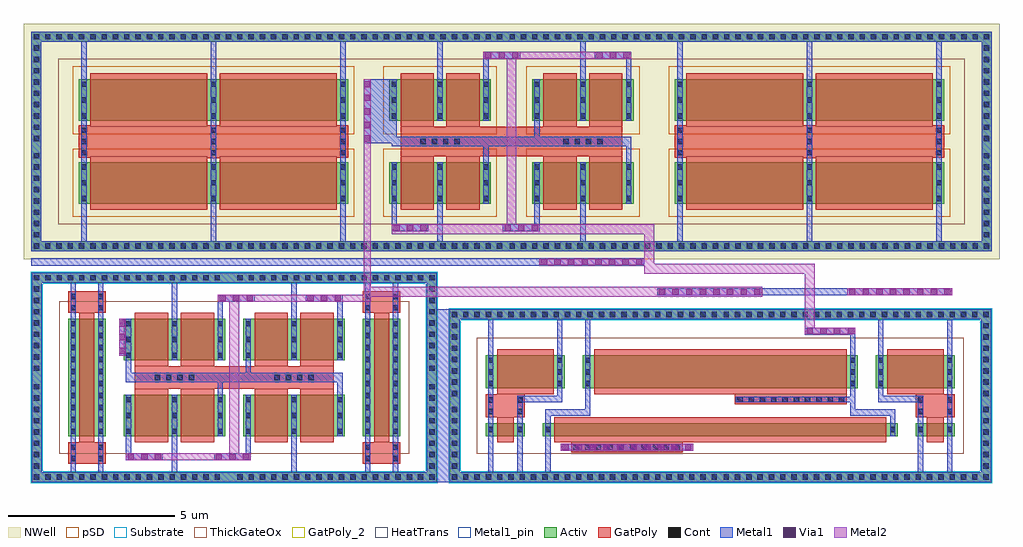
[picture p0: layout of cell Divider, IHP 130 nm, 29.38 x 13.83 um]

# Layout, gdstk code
import gdstk
lib = gdstk.Library(unit=1e-6, precision=1e-09)
def R(c, l, rs):  # rectangles x0, y0, x1, y1
    for r in rs: c.add(gdstk.rectangle(r[:2], r[2:], *l))
def A(c, l, x, y, w, h, nx, ny, dx, dy):  # array of equal rectangles
    R(c, l, [(x+i*dx, y+j*dy, x+i*dx+w, y+j*dy+h) for i in range(nx) for j in range(ny)])
def P(c, l, *ps):  # polygons
    for p in ps: c.add(gdstk.Polygon(p, *l))
Activ = (1, 0)
GatPoly = (5, 0)
GatPoly_2 = (5, 2)
Cont = (6, 0)
Metal1 = (8, 0)
Metal1_pin = (8, 2)
Metal2 = (10, 0)
pSD = (14, 0)
Via1 = (19, 0)
NWell = (31, 0)
Substrate = (40, 0)
ThickGateOx = (44, 0)
HeatTrans = (51, 0)

pmoshv_11 = lib.new_cell('pmosHV$11')
A(pmoshv_11, Activ, 0, 0, 0.3, 0.3, 3, 1, 3.9, 0)
R(pmoshv_11, Activ, [(0,0,8.1,1.25)])
R(pmoshv_11, GatPoly, [(0.34,-0.18,3.86,1.43), (4.24,-0.18,7.76,1.43)])
R(pmoshv_11, GatPoly_2, [(0.34,-0.18,3.86,1.43)])
A(pmoshv_11, Cont, 0.07, 0.07, 0.16, 0.16, 3, 3, 3.9, 0.475)
A(pmoshv_11, Metal1, 0.07, 0, 0.16, 1.25, 3, 1, 3.9, 0)
R(pmoshv_11, Metal1_pin, [(0.07,0,0.23,1.25), (3.97,0,4.13,1.25)])
R(pmoshv_11, pSD, [(-0.18,-0.4,8.28,1.65)])
R(pmoshv_11, NWell, [(-0.62,-0.62,8.72,1.87)])
R(pmoshv_11, ThickGateOx, [(-0.62,-0.62,8.72,1.87)])
R(pmoshv_11, HeatTrans, [(0.34,-0.18,3.86,1.43), (4.24,-0.18,7.76,1.43)])
pmoshv_11.add(gdstk.Label('pmosHV', (2.1,0.625), layer=63, texttype=0))
pmoshv_11.add(gdstk.Label('pmos', (2.1,0.625), layer=51, texttype=0))
pmoshv_11.add(gdstk.Label('pmos', (6,0.625), layer=51, texttype=0))

guard_ring_15 = lib.new_cell('guard_ring$15')
R(guard_ring_15, Activ, [(-8.15,-2.3,-7.85,2.3), (7.85,-2.3,8.15,2.3), (-8.15,2.3,8.15,2.6)])
P(guard_ring_15, Activ, [(-8.15,-2.6),(-8.15,2.3),(-7.85,2.3),(-7.85,-2.3),(7.85,-2.3),(7.85,2.3),(-8.15,2.3),(-8.15,2.6),(8.15,2.6),(8.15,-2.6)])
A(guard_ring_15, Cont, -8.08, -2.53, 0.16, 0.16, 24, 2, 0.34, 4.9)
A(guard_ring_15, Cont, 0.1, -2.53, 0.16, 0.16, 24, 2, 0.34, 4.9)
A(guard_ring_15, Cont, -8.08, -2.19, 0.16, 0.16, 1, 6, 0, 0.34)
A(guard_ring_15, Cont, 7.92, -2.19, 0.16, 0.16, 1, 6, 0, 0.34)
A(guard_ring_15, Cont, -8.08, -0.01, 0.16, 0.16, 1, 7, 0, 0.34)
A(guard_ring_15, Cont, 7.92, -0.01, 0.16, 0.16, 1, 7, 0, 0.34)
R(guard_ring_15, Metal1, [(-8.15,-2.6,8.15,-2.3), (-8.15,-2.3,-7.85,2.3), (7.85,-2.3,8.15,2.3), (-8.15,2.3,8.15,2.6)])
R(guard_ring_15, pSD, [(-8.18,-2.27,-7.82,2.27), (7.82,-2.27,8.18,2.27), (-8.18,2.27,8.18,2.63)])
P(guard_ring_15, pSD, [(-8.18,-2.63),(-8.18,2.27),(-7.82,2.27),(-7.82,-2.27),(7.82,-2.27),(7.82,2.27),(-8.18,2.27),(-8.18,2.63),(8.18,2.63),(8.18,-2.63)])
R(guard_ring_15, Substrate, [(-8.18,-2.27,-7.82,2.27), (7.82,-2.27,8.18,2.27), (-8.18,2.27,8.18,2.63)])
P(guard_ring_15, Substrate, [(-8.18,-2.63),(-8.18,2.27),(-7.82,2.27),(-7.82,-2.27),(7.82,-2.27),(7.82,2.27),(-8.18,2.27),(-8.18,2.63),(8.18,2.63),(8.18,-2.63)])
guard_ring_15.add(gdstk.Label('sub!', (0,-2.45), layer=63, texttype=0))

nmoshv_12 = lib.new_cell('nmosHV$12')
R(nmoshv_12, Activ, [(0,0,0.3,0.3), (0,0,2.38,1), (2.08,0,2.38,0.3)])
R(nmoshv_12, GatPoly, [(0.34,-0.18,2.04,1.18)])
R(nmoshv_12, GatPoly_2, [(0.34,-0.18,2.04,1.18)])
A(nmoshv_12, Cont, 0.07, 0.07, 0.16, 0.16, 1, 3, 0, 0.35)
A(nmoshv_12, Cont, 2.15, 0.07, 0.16, 0.16, 1, 3, 0, 0.35)
R(nmoshv_12, Metal1, [(0.07,0,0.23,1), (2.15,0,2.31,1)])
R(nmoshv_12, Metal1_pin, [(0.07,0,0.23,1), (2.15,0,2.31,1)])
R(nmoshv_12, ThickGateOx, [(-0.27,-0.52,2.65,1.52)])
R(nmoshv_12, HeatTrans, [(0.34,-0.18,2.04,1.18)])
nmoshv_12.add(gdstk.Label('nmosHV', (1.19,0.5), layer=63, texttype=0))
nmoshv_12.add(gdstk.Label('nmosHV', (1.19,0.5), layer=51, texttype=0))

nmoshv_11 = lib.new_cell('nmosHV$11')
R(nmoshv_11, Activ, [(0,0,0.3,0.3), (0,0,1.18,0.4), (0.88,0,1.18,0.3)])
R(nmoshv_11, GatPoly, [(0.34,-0.18,0.84,0.58)])
R(nmoshv_11, GatPoly_2, [(0.34,-0.18,0.84,0.58)])
R(nmoshv_11, Cont, [(0.07,0.12,0.23,0.28), (0.95,0.12,1.11,0.28)])
R(nmoshv_11, Metal1, [(0.07,0,0.23,0.4), (0.95,0,1.11,0.4)])
R(nmoshv_11, Metal1_pin, [(0.07,0,0.23,0.4), (0.95,0,1.11,0.4)])
R(nmoshv_11, ThickGateOx, [(-0.27,-0.52,1.45,0.92)])
R(nmoshv_11, HeatTrans, [(0.34,-0.18,0.84,0.58)])
nmoshv_11.add(gdstk.Label('nmosHV', (0.59,0.2), layer=63, texttype=0))
nmoshv_11.add(gdstk.Label('nmosHV', (0.59,0.2), layer=51, texttype=0))

nmoshv_10 = lib.new_cell('nmosHV$10')
R(nmoshv_10, Activ, [(0,0,0.3,0.3), (0,0,1.13,3.54), (0.83,0,1.13,0.3)])
R(nmoshv_10, GatPoly, [(0.34,-0.18,0.79,3.72)])
R(nmoshv_10, GatPoly_2, [(0.34,-0.18,0.79,3.72)])
A(nmoshv_10, Cont, 0.07, 0.07, 0.16, 0.16, 1, 10, 0, 0.36)
A(nmoshv_10, Cont, 0.9, 0.07, 0.16, 0.16, 1, 10, 0, 0.36)
R(nmoshv_10, Metal1, [(0.07,0,0.23,3.54), (0.9,0,1.06,3.54)])
R(nmoshv_10, Metal1_pin, [(0.07,0,0.23,3.54), (0.9,0,1.06,3.54)])
R(nmoshv_10, ThickGateOx, [(-0.27,-0.52,1.4,4.06)])
R(nmoshv_10, HeatTrans, [(0.34,-0.18,0.79,3.72)])
nmoshv_10.add(gdstk.Label('nmosHV', (0.565,1.77), layer=63, texttype=0))
nmoshv_10.add(gdstk.Label('nmosHV', (0.565,1.77), layer=51, texttype=0))

nmoshv_9 = lib.new_cell('nmosHV$9')
A(nmoshv_9, Activ, 0, 0, 0.3, 0.3, 3, 1, 1.38, 0)
R(nmoshv_9, Activ, [(0,0,3.06,1.25)])
R(nmoshv_9, GatPoly, [(0.34,-0.18,1.34,1.43), (1.72,-0.18,2.72,1.43)])
R(nmoshv_9, GatPoly_2, [(0.34,-0.18,1.34,1.43)])
A(nmoshv_9, Cont, 0.07, 0.07, 0.16, 0.16, 3, 3, 1.38, 0.475)
A(nmoshv_9, Metal1, 0.07, 0, 0.16, 1.25, 3, 1, 1.38, 0)
R(nmoshv_9, Metal1_pin, [(0.07,0,0.23,1.25), (1.45,0,1.61,1.25)])
R(nmoshv_9, ThickGateOx, [(-0.27,-0.52,3.33,1.77)])
R(nmoshv_9, HeatTrans, [(0.34,-0.18,1.34,1.43), (1.72,-0.18,2.72,1.43)])
nmoshv_9.add(gdstk.Label('nmosHV', (0.84,0.625), layer=63, texttype=0))
nmoshv_9.add(gdstk.Label('nmosHV', (0.84,0.625), layer=51, texttype=0))
nmoshv_9.add(gdstk.Label('nmosHV', (2.22,0.625), layer=51, texttype=0))

guard_ring_14 = lib.new_cell('guard_ring$14')
R(guard_ring_14, Activ, [(-14.45,-3,-14.15,3), (14.15,-3,14.45,3), (-14.45,3,14.45,3.3)])
P(guard_ring_14, Activ, [(-14.45,-3.3),(-14.45,3),(-14.15,3),(-14.15,-3),(14.15,-3),(14.15,3),(-14.45,3),(-14.45,3.3),(14.45,3.3),(14.45,-3.3)])
A(guard_ring_14, Cont, -14.38, -3.23, 0.16, 0.16, 42, 2, 0.34, 6.3)
A(guard_ring_14, Cont, -0.06, -3.23, 0.16, 0.16, 43, 2, 0.34, 6.3)
A(guard_ring_14, Cont, -14.38, -2.89, 0.16, 0.16, 1, 8, 0, 0.34)
A(guard_ring_14, Cont, 14.22, -2.89, 0.16, 0.16, 1, 8, 0, 0.34)
A(guard_ring_14, Cont, -14.38, 0.01, 0.16, 0.16, 1, 9, 0, 0.34)
A(guard_ring_14, Cont, 14.22, 0.01, 0.16, 0.16, 1, 9, 0, 0.34)
R(guard_ring_14, Metal1, [(-14.45,-3.3,14.45,-3), (-14.45,-3,-14.15,3), (14.15,-3,14.45,3), (-14.45,3,14.45,3.3)])
R(guard_ring_14, NWell, [(-14.69,-3.54,14.69,3.54)])
guard_ring_14.add(gdstk.Label('well', (0,-3.15), layer=63, texttype=0))

guard_ring_9 = lib.new_cell('guard_ring$9')
R(guard_ring_9, Activ, [(-6.1,-2.85,-5.8,2.85), (5.8,-2.85,6.1,2.85), (-6.1,2.85,6.1,3.15)])
P(guard_ring_9, Activ, [(-6.1,-3.15),(-6.1,2.85),(-5.8,2.85),(-5.8,-2.85),(5.8,-2.85),(5.8,2.85),(-6.1,2.85),(-6.1,3.15),(6.1,3.15),(6.1,-3.15)])
A(guard_ring_9, Cont, -6.03, -3.08, 0.16, 0.16, 17, 2, 0.34, 6)
A(guard_ring_9, Cont, 0.09, -3.08, 0.16, 0.16, 18, 2, 0.34, 6)
A(guard_ring_9, Cont, -6.03, -2.74, 0.16, 0.16, 1, 8, 0, 0.34)
A(guard_ring_9, Cont, 5.87, -2.74, 0.16, 0.16, 1, 8, 0, 0.34)
A(guard_ring_9, Cont, -6.03, 0.2, 0.16, 0.16, 1, 8, 0, 0.34)
A(guard_ring_9, Cont, 5.87, 0.2, 0.16, 0.16, 1, 8, 0, 0.34)
R(guard_ring_9, Metal1, [(-6.1,-3.15,6.1,-2.85), (-6.1,-2.85,-5.8,2.85), (5.8,-2.85,6.1,2.85), (-6.1,2.85,6.1,3.15)])
R(guard_ring_9, pSD, [(-6.13,-2.82,-5.77,2.82), (5.77,-2.82,6.13,2.82), (-6.13,2.82,6.13,3.18)])
P(guard_ring_9, pSD, [(-6.13,-3.18),(-6.13,2.82),(-5.77,2.82),(-5.77,-2.82),(5.77,-2.82),(5.77,2.82),(-6.13,2.82),(-6.13,3.18),(6.13,3.18),(6.13,-3.18)])
R(guard_ring_9, Substrate, [(-6.13,-2.82,-5.77,2.82), (5.77,-2.82,6.13,2.82), (-6.13,2.82,6.13,3.18)])
P(guard_ring_9, Substrate, [(-6.13,-3.18),(-6.13,2.82),(-5.77,2.82),(-5.77,-2.82),(5.77,-2.82),(5.77,2.82),(-6.13,2.82),(-6.13,3.18),(6.13,3.18),(6.13,-3.18)])
guard_ring_9.add(gdstk.Label('sub!', (0,-3), layer=63, texttype=0))

nmoshv_8 = lib.new_cell('nmosHV$8')
R(nmoshv_8, Activ, [(0,0,0.3,0.3), (0,0,10.68,0.4), (10.38,0,10.68,0.3)])
R(nmoshv_8, GatPoly, [(0.34,-0.18,10.34,0.58)])
R(nmoshv_8, GatPoly_2, [(0.34,-0.18,10.34,0.58)])
R(nmoshv_8, Cont, [(0.07,0.12,0.23,0.28), (10.45,0.12,10.61,0.28)])
R(nmoshv_8, Metal1, [(0.07,0,0.23,0.4), (10.45,0,10.61,0.4)])
R(nmoshv_8, Metal1_pin, [(0.07,0,0.23,0.4), (10.45,0,10.61,0.4)])
R(nmoshv_8, ThickGateOx, [(-0.27,-0.52,10.95,0.92)])
R(nmoshv_8, HeatTrans, [(0.34,-0.18,10.34,0.58)])
nmoshv_8.add(gdstk.Label('nmosHV', (5.34,0.2), layer=63, texttype=0))
nmoshv_8.add(gdstk.Label('nmosHV', (5.34,0.2), layer=51, texttype=0))

nmoshv_7 = lib.new_cell('nmosHV$7')
R(nmoshv_7, Activ, [(0,0,0.3,0.3), (0,0,8.28,1), (7.98,0,8.28,0.3)])
R(nmoshv_7, GatPoly, [(0.34,-0.18,7.94,1.18)])
R(nmoshv_7, GatPoly_2, [(0.34,-0.18,7.94,1.18)])
A(nmoshv_7, Cont, 0.07, 0.07, 0.16, 0.16, 1, 3, 0, 0.35)
A(nmoshv_7, Cont, 8.05, 0.07, 0.16, 0.16, 1, 3, 0, 0.35)
R(nmoshv_7, Metal1, [(0.07,0,0.23,1), (8.05,0,8.21,1)])
R(nmoshv_7, Metal1_pin, [(0.07,0,0.23,1), (8.05,0,8.21,1)])
R(nmoshv_7, ThickGateOx, [(-0.27,-0.52,8.55,1.52)])
R(nmoshv_7, HeatTrans, [(0.34,-0.18,7.94,1.18)])
nmoshv_7.add(gdstk.Label('nmosHV', (4.14,0.5), layer=63, texttype=0))
nmoshv_7.add(gdstk.Label('nmosHV', (4.14,0.5), layer=51, texttype=0))

pmoshv_8 = lib.new_cell('pmosHV$8')
A(pmoshv_8, Activ, 0, 0, 0.3, 0.3, 3, 1, 1.38, 0)
R(pmoshv_8, Activ, [(0,0,3.06,1.25)])
R(pmoshv_8, GatPoly, [(0.34,-0.18,1.34,1.43), (1.72,-0.18,2.72,1.43)])
R(pmoshv_8, GatPoly_2, [(0.34,-0.18,1.34,1.43)])
A(pmoshv_8, Cont, 0.07, 0.07, 0.16, 0.16, 3, 3, 1.38, 0.475)
A(pmoshv_8, Metal1, 0.07, 0, 0.16, 1.25, 3, 1, 1.38, 0)
R(pmoshv_8, Metal1_pin, [(0.07,0,0.23,1.25), (1.45,0,1.61,1.25)])
R(pmoshv_8, pSD, [(-0.18,-0.4,3.24,1.65)])
R(pmoshv_8, NWell, [(-0.62,-0.62,3.68,1.87)])
R(pmoshv_8, ThickGateOx, [(-0.62,-0.62,3.68,1.87)])
R(pmoshv_8, HeatTrans, [(0.34,-0.18,1.34,1.43), (1.72,-0.18,2.72,1.43)])
pmoshv_8.add(gdstk.Label('pmosHV', (0.84,0.625), layer=63, texttype=0))
pmoshv_8.add(gdstk.Label('pmos', (0.84,0.625), layer=51, texttype=0))
pmoshv_8.add(gdstk.Label('pmos', (2.22,0.625), layer=51, texttype=0))

via_stack_16 = lib.new_cell('via_stack$16')
R(via_stack_16, GatPoly, [(-0.15,-0.49,0.15,0.49)])
A(via_stack_16, Cont, -0.08, -0.42, 0.16, 0.16, 1, 3, 0, 0.34)
R(via_stack_16, Metal1, [(-0.08,-0.47,0.08,0.47)])

via_stack_17 = lib.new_cell('via_stack$17')
R(via_stack_17, GatPoly, [(-0.15,-0.32,0.15,0.32)])
R(via_stack_17, Cont, [(-0.08,-0.25,0.08,-0.09), (-0.08,0.09,0.08,0.25)])
R(via_stack_17, Metal1, [(-0.08,-0.3,0.08,0.3)])

via_stack_19 = lib.new_cell('via_stack$19')
R(via_stack_19, Metal1, [(-0.555,-0.105,0.555,0.105)])
R(via_stack_19, Metal2, [(-0.555,-0.1,0.555,0.1)])
A(via_stack_19, Via1, -0.505, -0.095, 0.19, 0.19, 3, 1, 0.41, 0)

via_stack_21 = lib.new_cell('via_stack$21')
R(via_stack_21, GatPoly, [(-0.66,-0.15,0.66,0.15)])
A(via_stack_21, Cont, -0.59, -0.08, 0.16, 0.16, 4, 1, 0.34, 0)
R(via_stack_21, Metal1, [(-0.64,-0.08,0.64,0.08)])

via_stack_18 = lib.new_cell('via_stack$18')
R(via_stack_18, Metal1, [(-0.76,-0.105,0.76,0.105)])
R(via_stack_18, Metal2, [(-0.76,-0.1,0.76,0.1)])
A(via_stack_18, Via1, -0.71, -0.095, 0.19, 0.19, 4, 1, 0.41, 0)

via_stack_4 = lib.new_cell('via_stack$4')
R(via_stack_4, GatPoly, [(-1.68,-0.15,1.68,0.15)])
A(via_stack_4, Cont, -1.61, -0.08, 0.16, 0.16, 10, 1, 0.34, 0)
R(via_stack_4, Metal1, [(-1.66,-0.08,1.66,0.08)])

via_stack_20 = lib.new_cell('via_stack$20')
R(via_stack_20, Metal1, [(-0.105,-0.965,0.105,0.965)])
R(via_stack_20, Metal2, [(-0.1,-0.965,0.1,0.965)])
A(via_stack_20, Via1, -0.095, -0.915, 0.19, 0.19, 1, 5, 0, 0.41)

via_stack_26 = lib.new_cell('via_stack$26')
R(via_stack_26, Metal1, [(-1.58,-0.105,1.58,0.105)])
R(via_stack_26, Metal2, [(-1.58,-0.1,1.58,0.1)])
A(via_stack_26, Via1, -1.53, -0.095, 0.19, 0.19, 8, 1, 0.41, 0)

via_stack = lib.new_cell('via_stack')
R(via_stack, GatPoly, [(-1.68,-0.15,1.68,0.15)])
A(via_stack, Cont, -1.61, -0.08, 0.16, 0.16, 10, 1, 0.34, 0)
R(via_stack, Metal1, [(-1.99,-0.105,1.99,0.105)])
R(via_stack, Metal2, [(-1.99,-0.1,1.99,0.1)])
A(via_stack, Via1, -1.94, -0.095, 0.19, 0.19, 10, 1, 0.41, 0)

via_stack_28 = lib.new_cell('via_stack$28')
R(via_stack_28, Metal1, [(-0.105,-0.555,0.105,0.555)])
R(via_stack_28, Metal2, [(-0.1,-0.555,0.1,0.555)])
A(via_stack_28, Via1, -0.095, -0.505, 0.19, 0.19, 1, 3, 0, 0.41)

divider = lib.new_cell('Divider')
R(divider, GatPoly, [(1.34,0.56,2.47,1.2), (10.21,0.56,11.34,1.2), (13.91,1.96,15.09,2.64), (26.85,1.96,28.03,2.64), (3.35,2.81,9.33,3.49), (1.34,5.1,2.455,5.74), (10.21,5.1,11.34,5.74), (5.525,9.75,5.905,10.745), (23.465,9.75,23.845,10.745), (1.665,9.765,2.005,10.745), (9.425,9.765,9.765,10.745), (19.605,9.765,19.945,10.745), (27.365,9.765,27.705,10.745), (2.005,9.815,9.425,10.695), (11.345,9.815,18.025,10.695), (19.945,9.815,23.465,10.695), (23.845,9.815,27.365,10.695)])
A(divider, Metal1, 1.735, 7.255, 0.16, 6, 3, 1, 3.9, 0)
A(divider, Metal1, 19.675, 7.255, 0.16, 6, 3, 1, 3.9, 0)
R(divider, Metal1, [(12.44,0,12.82,5.2), (1.41,0.3,1.57,6), (2.24,0.3,2.4,6), (4.46,0.3,4.62,2.63), (8.06,0.3,8.22,2.63), (10.28,0.3,10.44,6), (11.11,0.3,11.27,6), (13.98,0.3,14.14,4.9), (14.86,0.3,15.02,2.6), (15.7,0.3,15.86,1.38), (26.92,0.3,27.08,2.6), (27.8,0.3,27.96,4.9), (3.08,0.66,3.24,1.38), (6.68,0.66,6.84,1.38), (15.7,1.78,15.86,2.2), (26.08,1.78,26.24,2.2), (26.92,1.78,27.08,2.6), (15.7,2,17.06,2.2), (16.9,2,17.06,2.82), (24.88,2,25.04,2.82), (24.88,2,26.24,2.2), (14.86,2.4,16.22,2.6), (16.06,2.4,16.22,4.9), (25.72,2.4,25.88,4.9), (25.72,2.4,27.08,2.6), (24.75,2.41,25.04,2.57), (5.84,2.63,6,3.29), (9.44,2.63,9.6,3.29), (3.08,3.01,9.6,3.29), (3.08,3.01,3.24,3.67), (6.68,3.01,6.84,3.67), (4.46,3.67,4.62,6), (8.06,3.67,8.22,6), (16.9,3.82,17.06,4.9), (24.88,3.82,25.04,4.65), (5.84,4.92,6,5.64), (9.435,4.92,9.6,5.64), (22.23,5.625,24.795,5.835), (0.235,6.515,18.675,6.735), (12.455,7.255,12.615,9.635), (16.755,7.255,16.915,9.635), (11.075,7.555,11.235,8.385), (15.375,7.555,15.535,8.385), (13.835,9.635,13.995,10.395), (18.135,9.635,18.295,10.395), (11.075,10.115,11.235,10.875), (11.075,10.115,18.295,10.395), (15.375,10.115,15.535,10.875), (10.23,10.195,11.235,12.125), (12.455,10.875,12.615,13.255), (16.755,10.875,16.915,13.255), (13.835,12.125,13.995,12.955), (18.135,12.125,18.295,12.955)])
R(divider, Metal2, [(3.08,0.665,6.84,0.865), (6.19,0.865,6.49,5.635), (23.52,4.445,23.82,6.57), (5.84,5.435,9.6,5.635), (9.6,5.435,10.445,5.635), (10.23,5.435,10.445,12.125), (10.23,5.58,22.23,5.88), (18.675,6.27,23.82,6.57), (18.675,6.27,18.975,7.76), (11.075,7.46,15.535,7.76), (15.535,7.46,18.975,7.76), (14.535,7.56,14.835,12.95), (13.835,12.75,18.295,12.95)])
divider.add(gdstk.Reference(pmoshv_11, (19.605,8.385)))
divider.add(gdstk.Reference(guard_ring_15, (20.97,2.6)))
divider.add(gdstk.Reference(nmoshv_12, (13.91,2.82)))
divider.add(gdstk.Reference(nmoshv_11, (13.91,1.38)))
divider.add(gdstk.Reference(nmoshv_11, (26.85,1.38)))
divider.add(gdstk.Reference(nmoshv_12, (25.65,2.82)))
divider.add(gdstk.Reference(nmoshv_10, (10.21,1.38)))
divider.add(gdstk.Reference(nmoshv_10, (1.34,1.38)))
divider.add(gdstk.Reference(nmoshv_9, (6.61,3.67)))
divider.add(gdstk.Reference(guard_ring_14, (14.685,10.255)))
divider.add(gdstk.Reference(guard_ring_9, (6.34,3.15)))
divider.add(gdstk.Reference(pmoshv_11, (1.665,8.385)))
divider.add(gdstk.Reference(pmoshv_11, (1.665,10.875)))
divider.add(gdstk.Reference(pmoshv_11, (19.605,10.875)))
divider.add(gdstk.Reference(nmoshv_8, (15.63,1.38)))
divider.add(gdstk.Reference(nmoshv_7, (16.83,2.82)))
divider.add(gdstk.Reference(pmoshv_8, (15.305,10.875)))
divider.add(gdstk.Reference(nmoshv_9, (6.61,1.38)))
divider.add(gdstk.Reference(pmoshv_8, (11.005,10.875)))
divider.add(gdstk.Reference(pmoshv_8, (15.305,8.385)))
divider.add(gdstk.Reference(nmoshv_9, (3.01,3.67)))
divider.add(gdstk.Reference(pmoshv_8, (11.005,8.385)))
divider.add(gdstk.Reference(nmoshv_9, (3.01,1.38)))
divider.add(gdstk.Reference(via_stack_16, (23.655,10.255)))
divider.add(gdstk.Reference(via_stack_16, (19.755,10.255)))
divider.add(gdstk.Reference(via_stack_16, (27.555,10.255)))
divider.add(gdstk.Reference(via_stack_16, (9.615,10.255)))
divider.add(gdstk.Reference(via_stack_16, (5.715,10.255)))
divider.add(gdstk.Reference(via_stack_16, (1.815,10.255)))
divider.add(gdstk.Reference(via_stack_17, (11.19,0.88)))
divider.add(gdstk.Reference(via_stack_17, (10.36,0.88)))
divider.add(gdstk.Reference(via_stack_17, (11.19,5.42)))
divider.add(gdstk.Reference(via_stack_17, (10.36,5.42)))
divider.add(gdstk.Reference(via_stack_17, (2.32,5.42)))
divider.add(gdstk.Reference(via_stack_17, (1.49,5.42)))
divider.add(gdstk.Reference(via_stack_17, (2.32,0.88)))
divider.add(gdstk.Reference(via_stack_17, (1.49,0.88)))
divider.add(gdstk.Reference(via_stack_19, (6.395,5.535)))
divider.add(gdstk.Reference(via_stack_19, (9.045,5.535)))
divider.add(gdstk.Reference(via_stack_19, (3.635,0.765)))
divider.add(gdstk.Reference(via_stack_19, (6.285,0.765)))
divider.add(gdstk.Reference(via_stack_17, (27.88,2.3)))
divider.add(gdstk.Reference(via_stack_17, (27,2.3)))
divider.add(gdstk.Reference(via_stack_17, (14.94,2.3)))
divider.add(gdstk.Reference(via_stack_17, (14.06,2.3)))
divider.add(gdstk.Reference(via_stack_19, (14.39,12.85)))
divider.add(gdstk.Reference(via_stack_19, (17.74,12.85)))
divider.add(gdstk.Reference(via_stack_19, (14.98,7.66)))
divider.add(gdstk.Reference(via_stack_19, (11.63,7.66)))
divider.add(gdstk.Reference(via_stack_21, (4.54,3.15)))
divider.add(gdstk.Reference(via_stack_21, (8.14,3.15)))
divider.add(gdstk.Reference(via_stack_21, (12.535,10.255)))
divider.add(gdstk.Reference(via_stack_21, (16.835,10.255)))
divider.add(gdstk.Reference(via_stack_18, (24.28,4.545)))
divider.add(gdstk.Reference(via_stack_4, (23.09,2.49)))
divider.add(gdstk.Reference(via_stack_20, (10.335,11.16)))
divider.add(gdstk.Reference(via_stack_26, (17.095,6.625)))
divider.add(gdstk.Reference(via_stack_26, (20.65,5.73)))
divider.add(gdstk.Reference(via_stack_26, (26.375,5.73)))
divider.add(gdstk.Reference(via_stack, (18.16,1.05)))
divider.add(gdstk.Reference(via_stack_28, (2.975,4.365)))

lib.write_gds('Divider.gds')
